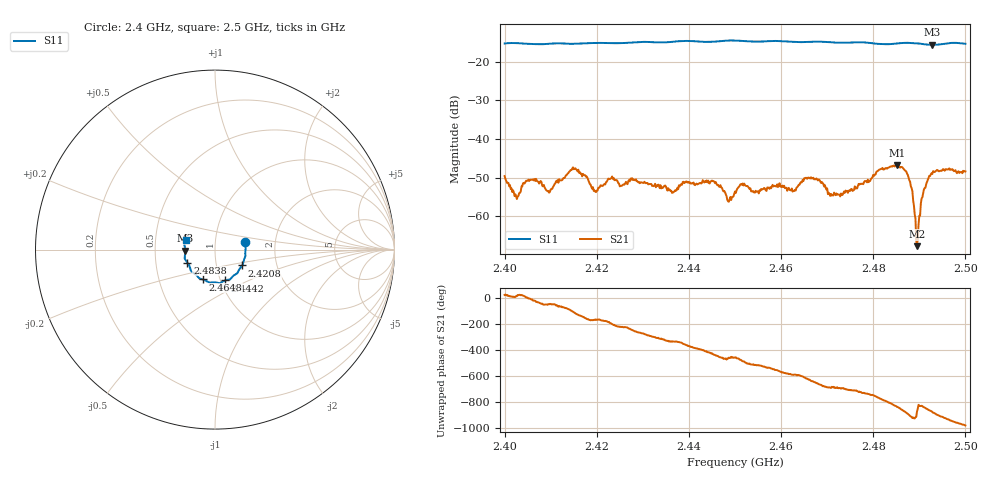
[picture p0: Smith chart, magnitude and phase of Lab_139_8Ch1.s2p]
# Hz S RI R 50
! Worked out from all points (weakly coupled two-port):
!   601 points, 2.4 GHz to 2.5 GHz, reference 50 ohm
!   highest |S21| = -46.78 dB at 2.4852 GHz (marker M1); lowest = -67.7 dB at 2.4895 GHz (marker M2)
!   lowest |S11| = -15.6 dB at 2.4928 GHz (marker M3), VSWR 1.40, Z = 35.8 - j0.397 ohm
!   |S11| at or under -10 dB: start of sweep to end of sweep
!   S12 and S22 are empty: the file has one direction only
!   S11 on the Smith chart (normalised r, x): 2.4 GHz: 1.40, +0.12; 2.4208 GHz: 1.33, -0.24; 2.4442 GHz: 1.05, -0.37; 2.4648 GHz: 0.83, -0.28; 2.4838 GHz: 0.73, -0.11; 2.5 GHz: 0.72, +0.08
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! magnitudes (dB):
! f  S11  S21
! 2.4 GHz  -15.3  -49.5
! 2.4027 GHz  -15.2  -55.5
! 2.4052 GHz  -15.4  -50.5
! 2.4095 GHz  -15.4  -53.4
! 2.4148 GHz  -15.4  -47.3
! 2.4167 GHz  -15.2  -48.9
! 2.4208 GHz  -15.1  -51.9
! 2.4333 GHz  -15.0  -51.8
! 2.4442 GHz  -14.8  -50.7
! 2.4487 GHz  -14.5  -56.2
! 2.45 GHz  -14.5  -53.5
! 2.4648 GHz  -14.9  -50.8
! 2.4667 GHz  -14.8  -50.2
! 2.4728 GHz  -15.1  -54.8
! 2.4833 GHz  -15.4  -47.3
! 2.4838 GHz  -15.4  -47.1
! 2.4852 GHz  -15.3  -46.8
! 2.4878 GHz  -15.1  -50.6
! 2.4895 GHz  -15.2  -67.7
! 2.491 GHz  -15.4  -53.0
! 2.4928 GHz  -15.6  -49.0
! 2.5 GHz  -15.3  -48.3
